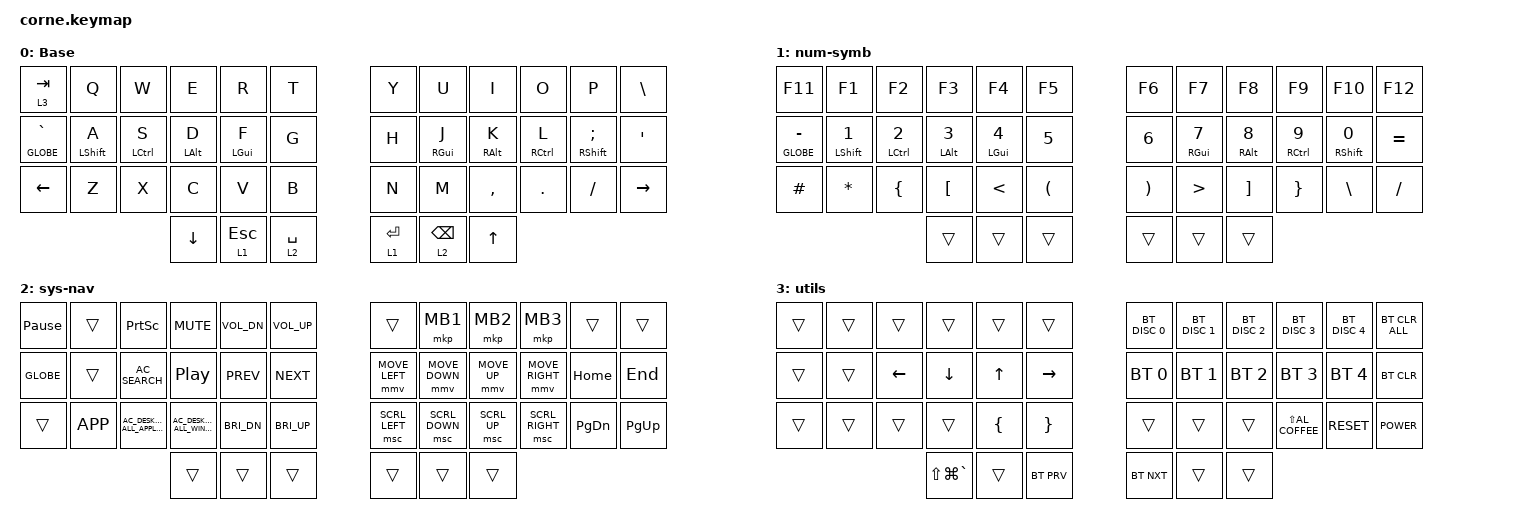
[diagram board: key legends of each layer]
#define ZMK_POINTING_DEFAULT_MOVE_VAL 1600  // default: 600
#define ZMK_POINTING_DEFAULT_SCRL_VAL 15    // default: 10

#include <behaviors.dtsi>
#include <dt-bindings/zmk/bt.h>
#include <dt-bindings/zmk/keys.h>
#include <dt-bindings/zmk/pointing.h>

/ {
    behaviors {
        hml: homewrow_mods_left {
            compatible = "zmk,behavior-hold-tap";
            label = "HOMEROW_MODS_LEFT_HAND";
            bindings = <&kp>, <&kp>;

            #binding-cells = <2>;
            tapping-term-ms = <200>;
            hold-trigger-key-positions = <6 18 30 39 40 8 9 10 11 20 21 22 23 32 33 34 35 41 7 19 31 38 37 36>;
            quick-tap-ms = <125>;
        };

        hmr: homewrow_mods_right {
            compatible = "zmk,behavior-hold-tap";
            label = "HOMEROW_MODS_RIGHT_HAND";
            bindings = <&kp>, <&kp>;

            #binding-cells = <2>;
            tapping-term-ms = <200>;
            hold-trigger-key-positions = <0 1 2 3 4 5 12 13 14 15 16 17 24 25 26 27 28 29 36 37 38 39 40 41>;
            quick-tap-ms = <125>;
        };
    };

    keymap {
        compatible = "zmk,keymap";

        base {
            display-name = "Base";
            bindings = <
&lt 3 TAB        &kp Q         &kp W         &kp E        &kp R         &kp T          &kp Y      &kp U            &kp I        &kp O         &kp P            &kp BSLH
&mt GLOBE GRAVE  &hml LSHFT A  &hml LCTRL S  &hml LALT D  &hml LGUI F   &kp G          &kp H      &hmr RGUI J      &hmr RALT K  &hmr RCTRL L  &hmr RSHFT SEMI  &kp SQT
&kp LEFT         &kp Z         &kp X         &kp C        &kp V         &kp B          &kp N      &kp M            &kp COMMA    &kp DOT       &kp FSLH         &kp RIGHT
                                             &kp DOWN     &lt 1 ESCAPE  &lt 2 SPACE    &lt 1 RET  &lt 2 BACKSPACE  &kp UP
            >;

            label = "base";
        };

        num-symb {
            display-name = "num-symb";
            bindings = <
&kp F11          &kp F1         &kp F2         &kp F3        &kp F4        &kp F5      &kp F6    &kp F7        &kp F8        &kp F9         &kp F10        &kp F12
&mt GLOBE MINUS  &hml LSHFT N1  &hml LCTRL N2  &hml LALT N3  &hml LGUI N4  &kp N5      &kp N6    &hmr RGUI N7  &hmr RALT N8  &hmr RCTRL N9  &hmr RSHFT N0  &kp EQUAL
&kp HASH         &kp ASTERISK   &kp LBRC       &kp LBKT      &kp LT        &kp LPAR    &kp RPAR  &kp GT        &kp RBKT      &kp RBRC       &kp BACKSLASH  &kp SLASH
                                               &trans        &trans        &trans      &trans    &trans        &trans
            >;
        };

        sys-nav {
            display-name = "sys-nav";
            bindings = <
&kp PAUSE_BREAK  &trans     &kp PRINTSCREEN                         &kp C_MUTE                         &kp C_VOL_DN  &kp C_VOL_UP    &trans          &mkp MB1        &mkp MB2      &mkp MB3         &trans     &trans
&kp GLOBE        &trans     &kp C_AC_SEARCH                         &kp C_PP                           &kp C_PREV    &kp C_NEXT      &mmv MOVE_LEFT  &mmv MOVE_DOWN  &mmv MOVE_UP  &mmv MOVE_RIGHT  &kp HOME   &kp END
&trans           &kp K_APP  &kp C_AC_DESKTOP_SHOW_ALL_APPLICATIONS  &kp C_AC_DESKTOP_SHOW_ALL_WINDOWS  &kp C_BRI_DN  &kp C_BRI_UP    &msc SCRL_LEFT  &msc SCRL_DOWN  &msc SCRL_UP  &msc SCRL_RIGHT  &kp PG_DN  &kp PG_UP
                                                                    &trans                             &trans        &trans          &trans          &trans          &trans
            >;
        };

        utils {
            bindings = <
&trans  &trans  &trans    &trans             &trans          &trans             &bt BT_DISC 0  &bt BT_DISC 1  &bt BT_DISC 2  &bt BT_DISC 3        &bt BT_DISC 4  &bt BT_CLR_ALL
&trans  &trans  &kp LEFT  &kp DOWN           &kp UP          &kp RIGHT          &bt BT_SEL 0   &bt BT_SEL 1   &bt BT_SEL 2   &bt BT_SEL 3         &bt BT_SEL 4   &bt BT_CLR
&trans  &trans  &trans    &trans             &kp LEFT_BRACE  &kp RIGHT_BRACE    &trans         &trans         &trans         &kp LS(C_AL_COFFEE)  &kp C_RESET    &kp C_POWER
                          &kp LS(LG(GRAVE))  &trans          &bt BT_PRV         &bt BT_NXT     &trans         &trans
            >;

            label = "utils";
        };
    };
};

